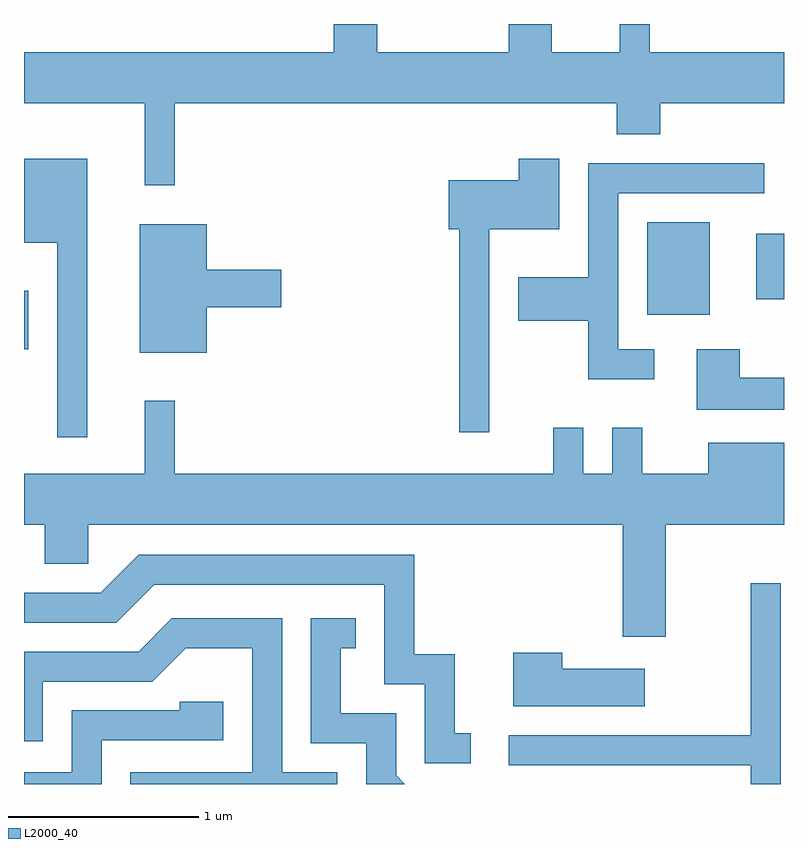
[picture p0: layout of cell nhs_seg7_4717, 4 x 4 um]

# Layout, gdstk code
import gdstk
lib = gdstk.Library(unit=1e-6, precision=1e-09)
def R(c, l, rs):  # rectangles x0, y0, x1, y1
    for r in rs: c.add(gdstk.rectangle(r[:2], r[2:], *l))
def P(c, l, *ps):  # polygons
    for p in ps: c.add(gdstk.Polygon(p, *l))
L2000_40 = (2000, 40)

nhs_seg7_4717 = lib.new_cell('nhs_seg7_4717')
R(nhs_seg7_4717, L2000_40, [(329.611,1748.541,329.634,1748.849), (332.891,1748.721,333.219,1749.209), (333.466,1748.803,333.611,1749.149)])
P(nhs_seg7_4717, L2000_40, [(330.404,1749.836),(332.731,1749.836),(332.731,1749.671),(332.959,1749.671),(332.959,1749.836),(333.611,1749.836),(333.611,1750.104),(332.904,1750.104),(332.904,1750.252),(332.746,1750.252),(332.746,1750.104),(332.389,1750.104),(332.389,1750.252),(332.161,1750.252),(332.161,1750.104),(331.469,1750.104),(331.469,1750.252),(331.241,1750.252),(331.241,1750.104),(329.611,1750.104),(329.611,1749.836),(330.246,1749.836),(330.246,1749.403),(330.404,1749.403)],
  [(329.944,1749.544),(329.611,1749.544),(329.611,1749.101),(329.786,1749.101),(329.786,1748.078),(329.944,1748.078)],
  [(332.059,1749.171),(332.429,1749.171),(332.429,1749.544),(332.216,1749.544),(332.216,1749.429),(331.846,1749.429),(331.846,1749.171),(331.901,1749.171),(331.901,1748.103),(332.059,1748.103)],
  [(332.928,1748.539),(332.739,1748.539),(332.739,1749.361),(333.508,1749.361),(333.508,1749.519),(332.581,1749.519),(332.581,1748.919),(332.211,1748.919),(332.211,1748.691),(332.581,1748.691),(332.581,1748.381),(332.928,1748.381)],
  [(330.574,1748.761),(330.964,1748.761),(330.964,1748.959),(330.574,1748.959),(330.574,1749.199),(330.221,1749.199),(330.221,1748.521),(330.574,1748.521)],
  [(333.611,1748.389),(333.379,1748.389),(333.379,1748.539),(333.151,1748.539),(333.151,1748.221),(333.611,1748.221)],
  [(332.989,1747.616),(333.611,1747.616),(333.611,1748.049),(333.211,1748.049),(333.211,1747.884),(332.864,1747.884),(332.864,1748.128),(332.706,1748.128),(332.706,1747.884),(332.554,1747.884),(332.554,1748.128),(332.396,1748.128),(332.396,1747.884),(330.404,1747.884),(330.404,1748.268),(330.246,1748.268),(330.246,1747.884),(329.611,1747.884),(329.611,1747.616),(329.721,1747.616),(329.721,1747.411),(329.949,1747.411),(329.949,1747.616),(332.761,1747.616),(332.761,1747.026),(332.989,1747.026)],
  [(331.963,1746.519),(331.879,1746.519),(331.879,1746.934),(331.664,1746.934),(331.664,1747.459),(330.214,1747.459),(330.014,1747.259),(329.611,1747.259),(329.611,1747.101),(330.097,1747.101),(330.297,1747.301),(331.506,1747.301),(331.506,1746.776),(331.721,1746.776),(331.721,1746.361),(331.963,1746.361)],
  [(333.594,1747.308),(333.436,1747.308),(333.436,1746.509),(332.163,1746.509),(332.163,1746.351),(333.436,1746.351),(333.436,1746.252),(333.594,1746.252)],
  [(331.569,1746.297),(331.569,1746.624),(331.279,1746.624),(331.279,1746.966),(331.358,1746.966),(331.358,1747.124),(331.121,1747.124),(331.121,1746.466),(331.411,1746.466),(331.411,1746.252),(331.614,1746.252)],
  [(331.259,1746.314),(330.969,1746.314),(330.969,1747.124),(330.389,1747.124),(330.214,1746.949),(329.611,1746.949),(329.611,1746.476),(329.709,1746.476),(329.709,1746.791),(330.287,1746.791),(330.462,1746.966),(330.811,1746.966),(330.811,1746.314),(330.171,1746.314),(330.171,1746.252),(331.259,1746.252)],
  [(332.879,1746.859),(332.444,1746.859),(332.444,1746.944),(332.186,1746.944),(332.186,1746.661),(332.879,1746.661)],
  [(330.019,1746.481),(330.659,1746.481),(330.659,1746.684),(330.431,1746.684),(330.431,1746.639),(329.861,1746.639),(329.861,1746.314),(329.611,1746.314),(329.611,1746.252),(330.019,1746.252)])

lib.write_gds('nhs_seg7_4717.gds')
